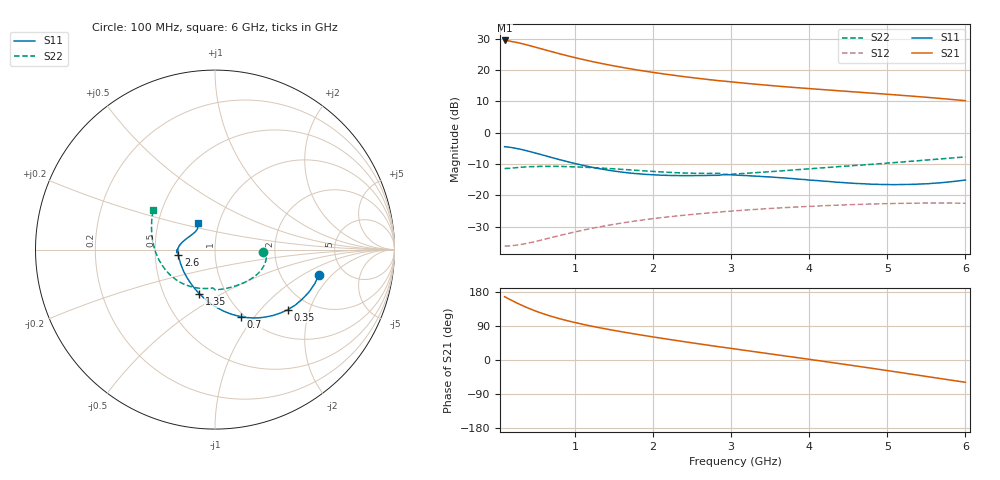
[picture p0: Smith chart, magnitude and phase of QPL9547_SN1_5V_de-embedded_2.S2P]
!QPL9547
!S-parameters de-embedded to device pins
!Freq range: 0-6GHz
!VDD = 5V, IDD = 65mA
!PortZ  Port1:50+j0  Port2:50+j0
!Created Thu Jan 23 16:40:10 2020
!T ambient (deg c): 25.00
!2 Port Network Data from SP2.SP block
!freq  magS11  angS11  magS21  angS21  magS12  angS12  magS22  angS22
# Hz S RI R 50
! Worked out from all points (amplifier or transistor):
!   119 points, 100 MHz to 6 GHz, reference 50 ohm
!   highest |S21| = 29.4 dB at 100 MHz (marker M1)
!   |S21| within 3 dB of that: start of sweep to 618.3 MHz
!   unconditionally stable (mu >= 1): start of sweep to end of sweep
!   at 1.05 GHz: K = 1.26, MAG = 24.5 dB, |S12| = -31.4 dB
!   at 3.05 GHz: K = 1.41, MAG = 16.7 dB, |S12| = -24.9 dB
!   at 6 GHz: K = 1.72, MAG = 11.4 dB, |S12| = -22.5 dB
!   lowest NFmin = 0.14 dB at 1.9 GHz
!   S11 on the Smith chart (normalised r, x): 100 MHz: 3.28, -1.43; 350 MHz: 1.56, -1.44; 700 MHz: 0.97, -0.86; 1.35 GHz: 0.75, -0.40; 2.6 GHz: 0.66, -0.04; 6 GHz: 0.79, +0.24
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1e8  0.5795 -0.1409  -28.77 6.626  0.0153 0.00237  0.2672 -0.0127
1.5e8  0.5556 -0.1903  -27.59 9.165  0.0153 0.00283  0.2694 -0.00975
2.5e8  0.4875 -0.2747  -24.12 13.3  0.0155 0.00416  0.2758 -0.0108
3e8  0.4479 -0.3086  -22.17 14.79  0.0156 0.0049  0.2793 -0.0155
3.5e8  0.4063 -0.3344  -20.15 15.97  0.0158 0.00567  0.2817 -0.0197
4e8  0.3642 -0.3536  -18.17 16.87  0.016 0.00645  0.284 -0.0251
5e8  0.2818 -0.3756  -14.45 17.87  0.0166 0.00797  0.285 -0.0368
6e8  0.2099 -0.3808  -11.15 18.05  0.0173 0.0095  0.2853 -0.0506
7e8  0.1466 -0.3737  -8.33 17.75  0.0182 0.0109  0.2823 -0.0639
8e8  0.0925 -0.3599  -5.988 17.15  0.0191 0.0123  0.2781 -0.0772
9e8  0.047 -0.3421  -4.049 16.38  0.0202 0.0136  0.2722 -0.09
1.1e9  -0.0242 -0.3002  -1.093 14.67  0.0228 0.0158  0.2571 -0.1137
1.35e9  -0.0865 -0.2464  1.358 12.54  0.0264 0.0181  0.2325 -0.1395
1.5e9  -0.114 -0.2157  2.389 11.35  0.0287 0.019  0.2155 -0.1533
1.7e9  -0.143 -0.1763  3.416 9.903  0.032 0.0199  0.1899 -0.1698
2.1e9  -0.1815 -0.1043  4.684 7.416  0.039 0.0202  0.1311 -0.1964
2.6e9  -0.2046 -0.0293  5.393 4.901  0.0476 0.0178  0.0465 -0.219
3.05e9  -0.2107 -0.00356  5.557 3.097  0.0549 0.0137  -0.0351 -0.2159
4.05e9  -0.164 0.0565  4.983 0.0305  0.0669 -0.00258  -0.1983 -0.1791
5.05e9  -0.1104 0.0988  3.524 -1.99  0.0694 -0.0253  -0.3295 -0.0184
5.5e9  -0.0974 0.1175  2.661 -2.515  0.066 -0.0359  -0.353 0.0937
6e9  -0.0973 0.1456  1.673 -2.763  0.0589 -0.046  -0.345 0.221
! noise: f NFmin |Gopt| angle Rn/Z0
6e+08  0.1636  0.192  12.58  0.04107
9e+08  0.2172  0.1812  20.33  0.03801
1.2e+09  0.2072  0.1332  22.7  0.04007
1.6e+09  0.1822  0.09669  57.03  0.03655
1.9e+09  0.1354  0.1236  84.94  0.03563
2.2e+09  0.1734  0.1164  115.7  0.03312
2.5e+09  0.238  0.11  156.7  0.03337
2.8e+09  0.2866  0.1692  179.4  0.03037
3.2e+09  0.3661  0.184  -170.3  0.03673
3.7e+09  0.4168  0.2766  -157.1  0.03129
